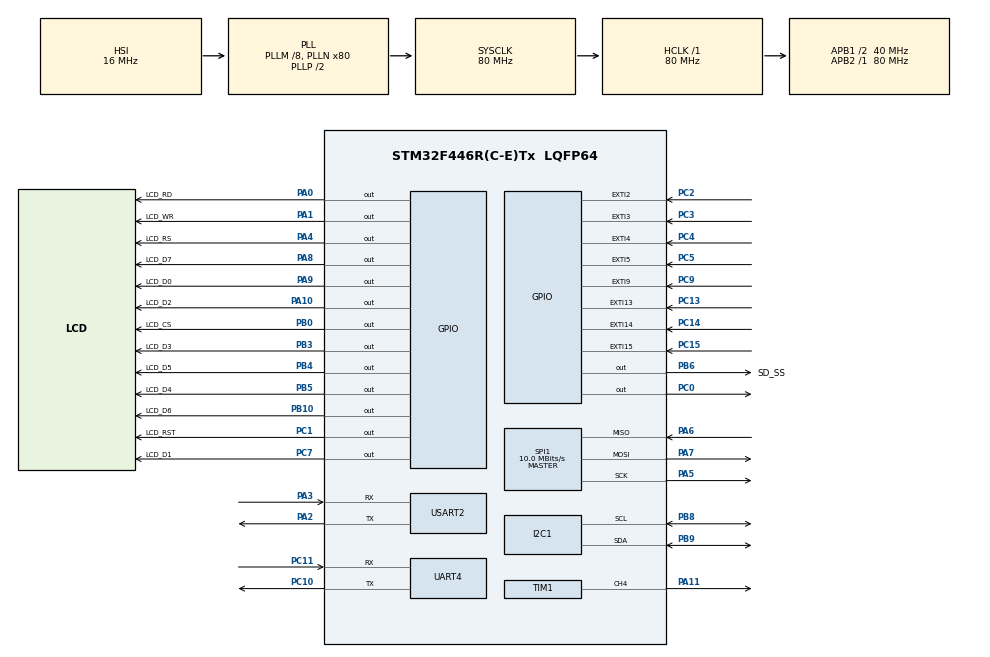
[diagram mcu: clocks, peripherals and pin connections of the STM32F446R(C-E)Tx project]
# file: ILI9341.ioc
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Dma.Request0=TIM1_CH4/TRIG/COM
Dma.TIM1_CH4/TRIG/COM.0.Direction=DMA_MEMORY_TO_PERIPH
Dma.TIM1_CH4/TRIG/COM.0.FIFOMode=DMA_FIFOMODE_DISABLE
Dma.TIM1_CH4/TRIG/COM.0.Instance=DMA2_Stream4
Dma.TIM1_CH4/TRIG/COM.0.MemDataAlignment=DMA_MDATAALIGN_HALFWORD
Dma.TIM1_CH4/TRIG/COM.0.MemInc=DMA_MINC_ENABLE
Dma.TIM1_CH4/TRIG/COM.0.Mode=DMA_NORMAL
Dma.TIM1_CH4/TRIG/COM.0.PeriphDataAlignment=DMA_PDATAALIGN_HALFWORD
Dma.TIM1_CH4/TRIG/COM.0.PeriphInc=DMA_PINC_DISABLE
Dma.TIM1_CH4/TRIG/COM.0.Priority=DMA_PRIORITY_VERY_HIGH
FATFS._MAX_SS=4096
FATFS._USE_LFN=1
I2C1.OwnAddress=0x13
Mcu.Family=STM32F4
Mcu.Name=STM32F446R(C-E)Tx
Mcu.Package=LQFP64
NVIC.DMA2_Stream4_IRQn=true\:0\:0\:false\:false\:true\:false\:true\:true
NVIC.EXTI15_10_IRQn=true\:0\:0\:false\:false\:true\:true\:true\:true
NVIC.EXTI2_IRQn=true\:0\:0\:false\:false\:true\:true\:true\:true
NVIC.EXTI3_IRQn=true\:0\:0\:false\:false\:true\:true\:true\:true
NVIC.EXTI4_IRQn=true\:0\:0\:false\:false\:true\:true\:true\:true
NVIC.EXTI9_5_IRQn=true\:0\:0\:false\:false\:true\:true\:true\:true
NVIC.I2C1_ER_IRQn=true\:0\:0\:false\:false\:true\:true\:true\:true
NVIC.I2C1_EV_IRQn=true\:0\:0\:false\:false\:true\:true\:true\:true
NVIC.PriorityGroup=NVIC_PRIORITYGROUP_4
NVIC.TIM6_DAC_IRQn=true\:0\:0\:false\:false\:true\:true\:true\:true
NVIC.UART4_IRQn=true\:0\:0\:false\:false\:true\:true\:true\:true
NVIC.USART2_IRQn=true\:0\:0\:false\:false\:true\:true\:true\:true
PA0-WKUP.GPIO_Label=LCD_RD
PA0-WKUP.GPIO_Speed=GPIO_SPEED_FREQ_HIGH
PA0-WKUP.Signal=GPIO_Output
PA1.GPIO_Label=LCD_WR
PA1.GPIO_Speed=GPIO_SPEED_FREQ_HIGH
PA1.Signal=GPIO_Output
PA10.GPIO_Label=LCD_D2
PA10.GPIO_Speed=GPIO_SPEED_FREQ_HIGH
PA10.Signal=GPIO_Output
PA11.GPIO_Speed=GPIO_SPEED_FREQ_HIGH
PA11.Signal=S_TIM1_CH4
PA13.Mode=Serial_Wire
PA13.Signal=SYS_JTMS-SWDIO
PA14.Mode=Serial_Wire
PA14.Signal=SYS_JTCK-SWCLK
PA2.Mode=Asynchronous
PA2.Signal=USART2_TX
PA3.Mode=Asynchronous
PA3.Signal=USART2_RX
PA4.GPIO_Label=LCD_RS
PA4.GPIO_Speed=GPIO_SPEED_FREQ_HIGH
PA4.Signal=GPIO_Output
PA5.Mode=Full_Duplex_Master
PA5.Signal=SPI1_SCK
PA6.Mode=Full_Duplex_Master
PA6.Signal=SPI1_MISO
PA7.Mode=Full_Duplex_Master
PA7.Signal=SPI1_MOSI
PA8.GPIO_Label=LCD_D7
PA8.GPIO_Speed=GPIO_SPEED_FREQ_HIGH
PA8.Signal=GPIO_Output
PA9.GPIO_Label=LCD_D0
PA9.GPIO_Speed=GPIO_SPEED_FREQ_HIGH
PA9.Signal=GPIO_Output
PB0.GPIO_Label=LCD_CS
PB0.GPIO_Speed=GPIO_SPEED_FREQ_HIGH
PB0.Signal=GPIO_Output
PB10.GPIO_Label=LCD_D6
PB10.GPIO_Speed=GPIO_SPEED_FREQ_HIGH
PB10.Signal=GPIO_Output
PB3.GPIO_Label=LCD_D3
PB3.GPIO_Speed=GPIO_SPEED_FREQ_HIGH
PB3.Signal=GPIO_Output
PB4.GPIO_Label=LCD_D5
PB4.GPIO_Speed=GPIO_SPEED_FREQ_HIGH
PB4.Signal=GPIO_Output
PB5.GPIO_Label=LCD_D4
PB5.GPIO_Speed=GPIO_SPEED_FREQ_HIGH
PB5.Signal=GPIO_Output
PB6.GPIO_Label=SD_SS
PB6.GPIO_Speed=GPIO_SPEED_FREQ_MEDIUM
PB6.PinState=GPIO_PIN_SET
PB6.Signal=GPIO_Output
PB8.Mode=I2C
PB8.Signal=I2C1_SCL
PB9.Mode=I2C
PB9.Signal=I2C1_SDA
PC0.PinState=GPIO_PIN_SET
PC0.Signal=GPIO_Output
PC1.GPIO_Label=LCD_RST
PC1.GPIO_Speed=GPIO_SPEED_FREQ_HIGH
PC1.Signal=GPIO_Output
PC10.Mode=Asynchronous
PC10.Signal=UART4_TX
PC11.Mode=Asynchronous
PC11.Signal=UART4_RX
PC13.GPIO_ModeDefaultEXTI=GPIO_MODE_IT_RISING_FALLING
PC13.GPIO_PuPd=GPIO_NOPULL
PC13.Signal=GPXTI13
PC14-OSC32_IN.GPIO_ModeDefaultEXTI=GPIO_MODE_IT_RISING_FALLING
PC14-OSC32_IN.GPIO_PuPd=GPIO_NOPULL
PC14-OSC32_IN.Signal=GPXTI14
PC15-OSC32_OUT.GPIO_ModeDefaultEXTI=GPIO_MODE_IT_RISING_FALLING
PC15-OSC32_OUT.GPIO_PuPd=GPIO_NOPULL
PC15-OSC32_OUT.Signal=GPXTI15
PC2.GPIO_ModeDefaultEXTI=GPIO_MODE_IT_RISING_FALLING
PC2.GPIO_PuPd=GPIO_NOPULL
PC2.Signal=GPXTI2
PC3.GPIO_ModeDefaultEXTI=GPIO_MODE_IT_RISING_FALLING
PC3.GPIO_PuPd=GPIO_NOPULL
PC3.Signal=GPXTI3
PC4.GPIO_ModeDefaultEXTI=GPIO_MODE_IT_RISING_FALLING
PC4.GPIO_PuPd=GPIO_NOPULL
PC4.Signal=GPXTI4
PC5.GPIO_ModeDefaultEXTI=GPIO_MODE_IT_RISING_FALLING
PC5.GPIO_PuPd=GPIO_NOPULL
PC5.Signal=GPXTI5
PC7.GPIO_Label=LCD_D1
PC7.GPIO_Speed=GPIO_SPEED_FREQ_HIGH
PC7.Signal=GPIO_Output
PC9.GPIO_ModeDefaultEXTI=GPIO_MODE_IT_RISING_FALLING
PC9.GPIO_PuPd=GPIO_NOPULL
PC9.Signal=GPXTI9
PH0-OSC_IN.Mode=HSE-External-Oscillator
PH0-OSC_IN.Signal=RCC_OSC_IN
PH1-OSC_OUT.Mode=HSE-External-Oscillator
PH1-OSC_OUT.Signal=RCC_OSC_OUT
ProjectManager.HeapSize=0x200
ProjectManager.StackSize=0x400
ProjectManager.TargetToolchain=STM32CubeIDE
RCC.AHBFreq_Value=80000000
RCC.APB1CLKDivider=RCC_HCLK_DIV2
RCC.APB1Freq_Value=40000000
RCC.APB1TimFreq_Value=80000000
RCC.APB2Freq_Value=80000000
RCC.APB2TimFreq_Value=80000000
RCC.CortexFreq_Value=80000000
RCC.HCLKFreq_Value=80000000
RCC.PLLM=8
RCC.PLLN=80
RCC.SYSCLKFreq_VALUE=80000000
RCC.SYSCLKSource=RCC_SYSCLKSOURCE_PLLCLK
RCC.USBFreq_Value=80000000
RCC.VCOOutputFreq_Value=160000000
SH.S_TIM1_CH4.0=TIM1_CH4,PWM Generation4 CH4
SPI1.BaudRatePrescaler=SPI_BAUDRATEPRESCALER_8
SPI1.CalculateBaudRate=10.0 MBits/s
SPI1.Direction=SPI_DIRECTION_2LINES
SPI1.Mode=SPI_MODE_MASTER
SPI1.VirtualType=VM_MASTER
TIM1.Channel-PWM\ Generation4\ CH4=TIM_CHANNEL_4
TIM1.Period=100-1
TIM6.Period=2500-1
TIM6.Prescaler=8400-1
UART4.VirtualMode=Asynchronous
USART2.VirtualMode=VM_ASYNC
VP_FATFS_VS_Generic.Mode=User_defined
VP_TIM1_VS_ClockSourceINT.Mode=Internal
VP_TIM6_VS_ClockSourceINT.Mode=Enable_Timer
board=custom

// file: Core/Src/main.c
/* USER CODE BEGIN Header */
/**
  ******************************************************************************
  * @file           : main.c
  * @brief          : Main program body
  ******************************************************************************
  */
/* USER CODE END Header */
#include "main.h"
#include "fatfs.h"

/* USER CODE BEGIN Includes */
#include "string.h"
#include "stdio.h"
#include <stdlib.h>
#include "ili9341.h"
#include "Bitmaps.h"
#include "NEOPIXEL.h"
/* USER CODE END Includes */

/* USER CODE BEGIN PD */
//COLORES CONVERTIDOS A RGB565
#define COLOR_FONDO_PARQUEO 0x428C
#define COLOR_FONDO_NUMEROS 0x3BF2

//MACROS FALTANTES PARA CONTROL DE PANTALLA
#define LCD_CS_L() HAL_GPIO_WritePin(GPIOB, LCD_CS_Pin, GPIO_PIN_RESET)
#define LCD_CS_H() HAL_GPIO_WritePin(GPIOB, LCD_CS_Pin, GPIO_PIN_SET)
#define LCD_RS_H() HAL_GPIO_WritePin(GPIOA, LCD_RS_Pin, GPIO_PIN_SET)
/* USER CODE END PD */

I2C_HandleTypeDef hi2c1;

SPI_HandleTypeDef hspi1;

TIM_HandleTypeDef htim1;
TIM_HandleTypeDef htim6;
DMA_HandleTypeDef hdma_tim1_ch4_trig_com;

UART_HandleTypeDef huart4;
UART_HandleTypeDef huart2;

/* USER CODE BEGIN PV */
#define TxBufferSize	8
#define RxBufferSize	4

int count = 0;

uint8_t aTxBuffer[TxBufferSize] = {0};
uint8_t aRxBuffer[RxBufferSize];

uint8_t rxData;
uint8_t flag_update = 0;
uint8_t space_to_update = 255;

uint8_t parking_state[8] = {0};
uint8_t car_assigned[8]  = {0};
uint8_t car_flip[8]      = {0};

const uint16_t* car_bitmaps[4] = {C1, C2, C3, C4};

//COORDENADAS DE LOS CARROS
const uint16_t space_x[8] = {16,  16,  16,  16,  186, 186, 186, 186};
const uint16_t space_y[8] = {58, 100, 140, 180,   60, 100, 140, 180};

//COORDENADAS DE LOS INDICADORES
const uint16_t line_x[8]  = {80,  80,  80,  80,  130, 130, 130, 130};

const uint16_t line_y[8]  = {60, 100, 140, 180,   60, 100, 140, 180};

volatile uint8_t exti_idx = 255;
volatile uint32_t last_exti_time = 0;

/* USER CODE END PV */

void SystemClock_Config(void);
static void MX_GPIO_Init(void);
static void MX_DMA_Init(void);
static void MX_SPI1_Init(void);
static void MX_USART2_UART_Init(void);
static void MX_TIM6_Init(void);
static void MX_UART4_Init(void);
static void MX_TIM1_Init(void);
static void MX_I2C1_Init(void);
/* USER CODE BEGIN PFP */
void Draw_Parking_Area(uint16_t px, uint16_t py, uint16_t w, uint16_t h);
void Update_Space(uint8_t idx);
void Update_Counter(void);
/* USER CODE END PFP */

/* USER CODE BEGIN 0 */
//RESTAURA SOLO EL FONDO QUE OCUPABA EL CARRO
void Draw_Parking_Area(uint16_t px, uint16_t py, uint16_t w, uint16_t h) {
    LCD_CS_L();
    SetWindows(px, py, px + w - 1, py + h - 1);
    LCD_RS_H();
    for (int j = py; j < py + h; j++) {
        for (int i = px; i < px + w; i++) {
            uint16_t pixel = PARQUEO[j * 240 + i];
            LCD_DATA(pixel >> 8);
            LCD_DATA(pixel & 0xFF);
        }
    }
    LCD_CS_H();
}

//ACTUALIZA LA PANTALLA Y EL LED DEL PARQUEO
void Update_Space(uint8_t idx) {
    if (parking_state[idx] == 0) {
        // ESPACIO LIBRE
        Draw_Parking_Area(space_x[idx], space_y[idx], 42, 22);
        Draw_Parking_Area(line_x[idx], line_y[idx], 28, 28);
        LCD_Sprite(line_x[idx], line_y[idx], 28, 28, L_V, 1, 0, 0, 0);
        setPixelColor(idx, 0, 255, 0);
        aTxBuffer[idx] = 0;
    } else {
        // ESPACIO OCUPADO
        Draw_Parking_Area(line_x[idx], line_y[idx], 28, 28);
        LCD_Sprite(space_x[idx], space_y[idx], 42, 22, car_bitmaps[car_assigned[idx]], 1, 0, car_flip[idx], 0);
        LCD_Sprite(line_x[idx], line_y[idx], 28, 28, L_R, 1, 0, 0, 0);
        setPixelColor(idx, 255, 0, 0);
        aTxBuffer[idx] = 1;
    }
}

//ACTUALIZA EL MARCADOR
void Update_Counter(void) {
    uint8_t ocupados = 0;
    for (int i = 0; i < 8; i++) {
        ocupados += parking_state[i];
    }
    uint8_t disponibles = 8 - ocupados;

    uint8_t escala = 2;
    uint16_t x0 = 115;
    uint16_t y0 = 270;

    FillRect(x0, y0, 8 * escala, 8 * escala, COLOR_FONDO_NUMEROS);

    char c[2] = {'0' + disponibles, 0};
    LCD_Print(c, x0, y0, escala, 0xFFFF, COLOR_FONDO_NUMEROS);
}
/* USER CODE END 0 */

int main(void)
{

  /* MCU Configuration--------------------------------------------------------*/

  /* Reset of all peripherals, Initializes the Flash interface and the Systick. */
  HAL_Init();

  /* Configure the system clock */
  SystemClock_Config();

  /* Initialize all configured peripherals */
  MX_GPIO_Init();
  MX_DMA_Init();
  MX_SPI1_Init();
  MX_FATFS_Init();
  MX_USART2_UART_Init();
  MX_TIM6_Init();
  MX_UART4_Init();
  MX_TIM1_Init();
  MX_I2C1_Init();
  /* USER CODE BEGIN 2 */
//INICIALIZAR PANTALLA
  LCD_Init();
  LCD_Clear(0x0000);
  LCD_Bitmap(0, 0, 240, 320, PARQUEO);

//INICIALIZAR NEOPIXELS
  pixelClear();
  setBrightness(50);

//PONER TODOS LIBRES AL INICIO
  for (int i = 0; i < 8; i++) {
      parking_state[i] = 0;
      Update_Space(i);
  }
  pixelShow();
  Update_Counter();

//INICIAR LA RECEPCION POR UART
  HAL_UART_Receive_IT(&huart2, &rxData, 1);

  // COMUNICACION I2C
  aTxBuffer[0] = 1;
  aTxBuffer[4] = 1;
  aTxBuffer[5] = 1;
  aTxBuffer[6] = 1;
  if (HAL_I2C_EnableListen_IT(&hi2c1) != HAL_OK) {
  	  Error_Handler();
    }
  /* USER CODE END 2 */

  /* Infinite loop */
  /* USER CODE BEGIN WHILE */
  while (1)
  {
//REVISAR SI LLEGO UN DATO
	  if (flag_update) {
	          flag_update = 0;
	          uint8_t target = space_to_update;
	          space_to_update = 255;

	      //AHORA ESTA EN LA INTERRUPCION
          //parking_state[target] = !parking_state[target];

//AHORA ESTA EN LA INTERRUPCION
//          if (parking_state[target]) {
//              car_assigned[target] = rand() % 4;
//              car_flip[target]     = rand() % 2;
//          }

          Update_Space(target);
          pixelShow();
          Update_Counter();
      }
      HAL_Delay(10);
    /* USER CODE END WHILE */

  }
}

void SystemClock_Config(void)
{
  RCC_OscInitTypeDef RCC_OscInitStruct = {0};
  RCC_ClkInitTypeDef RCC_ClkInitStruct = {0};

  /** Configure the main internal regulator output voltage
  */
  __HAL_RCC_PWR_CLK_ENABLE();
  __HAL_PWR_VOLTAGESCALING_CONFIG(PWR_REGULATOR_VOLTAGE_SCALE3);

  /** Initializes the RCC Oscillators according to the specified parameters
  * in the RCC_OscInitTypeDef structure.
  */
  RCC_OscInitStruct.OscillatorType = RCC_OSCILLATORTYPE_HSI;
  RCC_OscInitStruct.HSIState = RCC_HSI_ON;
  RCC_OscInitStruct.HSICalibrationValue = RCC_HSICALIBRATION_DEFAULT;
  RCC_OscInitStruct.PLL.PLLState = RCC_PLL_ON;
  RCC_OscInitStruct.PLL.PLLSource = RCC_PLLSOURCE_HSI;
  RCC_OscInitStruct.PLL.PLLM = 8;
  RCC_OscInitStruct.PLL.PLLN = 80;
  RCC_OscInitStruct.PLL.PLLP = RCC_PLLP_DIV2;
  RCC_OscInitStruct.PLL.PLLQ = 2;
  RCC_OscInitStruct.PLL.PLLR = 2;
  if (HAL_RCC_OscConfig(&RCC_OscInitStruct) != HAL_OK)
  {
    Error_Handler();
  }

  /** Initializes the CPU, AHB and APB buses clocks
  */
  RCC_ClkInitStruct.ClockType = RCC_CLOCKTYPE_HCLK|RCC_CLOCKTYPE_SYSCLK
                              |RCC_CLOCKTYPE_PCLK1|RCC_CLOCKTYPE_PCLK2;
  RCC_ClkInitStruct.SYSCLKSource = RCC_SYSCLKSOURCE_PLLCLK;
  RCC_ClkInitStruct.AHBCLKDivider = RCC_SYSCLK_DIV1;
  RCC_ClkInitStruct.APB1CLKDivider = RCC_HCLK_DIV2;
  RCC_ClkInitStruct.APB2CLKDivider = RCC_HCLK_DIV1;

  if (HAL_RCC_ClockConfig(&RCC_ClkInitStruct, FLASH_LATENCY_2) != HAL_OK)
  {
    Error_Handler();
  }
}

static void MX_I2C1_Init(void)
{

  hi2c1.Instance = I2C1;
  hi2c1.Init.ClockSpeed = 100000;
  hi2c1.Init.DutyCycle = I2C_DUTYCYCLE_2;
  hi2c1.Init.OwnAddress1 = 38;
  hi2c1.Init.AddressingMode = I2C_ADDRESSINGMODE_7BIT;
  hi2c1.Init.DualAddressMode = I2C_DUALADDRESS_DISABLE;
  hi2c1.Init.OwnAddress2 = 0;
  hi2c1.Init.GeneralCallMode = I2C_GENERALCALL_DISABLE;
  hi2c1.Init.NoStretchMode = I2C_NOSTRETCH_DISABLE;
  if (HAL_I2C_Init(&hi2c1) != HAL_OK)
  {
    Error_Handler();
  }

}

static void MX_SPI1_Init(void)
{

  /* SPI1 parameter configuration*/
  hspi1.Instance = SPI1;
  hspi1.Init.Mode = SPI_MODE_MASTER;
  hspi1.Init.Direction = SPI_DIRECTION_2LINES;
  hspi1.Init.DataSize = SPI_DATASIZE_8BIT;
  hspi1.Init.CLKPolarity = SPI_POLARITY_LOW;
  hspi1.Init.CLKPhase = SPI_PHASE_1EDGE;
  hspi1.Init.NSS = SPI_NSS_SOFT;
  hspi1.Init.BaudRatePrescaler = SPI_BAUDRATEPRESCALER_8;
  hspi1.Init.FirstBit = SPI_FIRSTBIT_MSB;
  hspi1.Init.TIMode = SPI_TIMODE_DISABLE;
  hspi1.Init.CRCCalculation = SPI_CRCCALCULATION_DISABLE;
  hspi1.Init.CRCPolynomial = 10;
  if (HAL_SPI_Init(&hspi1) != HAL_OK)
  {
    Error_Handler();
  }

}

static void MX_TIM1_Init(void)
{

  TIM_ClockConfigTypeDef sClockSourceConfig = {0};
  TIM_MasterConfigTypeDef sMasterConfig = {0};
  TIM_OC_InitTypeDef sConfigOC = {0};
  TIM_BreakDeadTimeConfigTypeDef sBreakDeadTimeConfig = {0};

  htim1.Instance = TIM1;
  htim1.Init.Prescaler = 0;
  htim1.Init.CounterMode = TIM_COUNTERMODE_UP;
  htim1.Init.Period = 100-1;
  htim1.Init.ClockDivision = TIM_CLOCKDIVISION_DIV1;
  htim1.Init.RepetitionCounter = 0;
  htim1.Init.AutoReloadPreload = TIM_AUTORELOAD_PRELOAD_DISABLE;
  if (HAL_TIM_Base_Init(&htim1) != HAL_OK)
  {
    Error_Handler();
  }
  sClockSourceConfig.ClockSource = TIM_CLOCKSOURCE_INTERNAL;
  if (HAL_TIM_ConfigClockSource(&htim1, &sClockSourceConfig) != HAL_OK)
  {
    Error_Handler();
  }
  if (HAL_TIM_PWM_Init(&htim1) != HAL_OK)
  {
    Error_Handler();
  }
  sMasterConfig.MasterOutputTrigger = TIM_TRGO_RESET;
  sMasterConfig.MasterSlaveMode = TIM_MASTERSLAVEMODE_DISABLE;
  if (HAL_TIMEx_MasterConfigSynchronization(&htim1, &sMasterConfig) != HAL_OK)
  {
    Error_Handler();
  }
  sConfigOC.OCMode = TIM_OCMODE_PWM1;
  sConfigOC.Pulse = 0;
  sConfigOC.OCPolarity = TIM_OCPOLARITY_HIGH;
  sConfigOC.OCFastMode = TIM_OCFAST_DISABLE;
  sConfigOC.OCIdleState = TIM_OCIDLESTATE_RESET;
  sConfigOC.OCNIdleState = TIM_OCNIDLESTATE_RESET;
  if (HAL_TIM_PWM_ConfigChannel(&htim1, &sConfigOC, TIM_CHANNEL_4) != HAL_OK)
  {
    Error_Handler();
  }
  sBreakDeadTimeConfig.OffStateRunMode = TIM_OSSR_DISABLE;
  sBreakDeadTimeConfig.OffStateIDLEMode = TIM_OSSI_DISABLE;
  sBreakDeadTimeConfig.LockLevel = TIM_LOCKLEVEL_OFF;
  sBreakDeadTimeConfig.DeadTime = 0;
  sBreakDeadTimeConfig.BreakState = TIM_BREAK_DISABLE;
  sBreakDeadTimeConfig.BreakPolarity = TIM_BREAKPOLARITY_HIGH;
  sBreakDeadTimeConfig.AutomaticOutput = TIM_AUTOMATICOUTPUT_DISABLE;
  if (HAL_TIMEx_ConfigBreakDeadTime(&htim1, &sBreakDeadTimeConfig) != HAL_OK)
  {
    Error_Handler();
  }
  HAL_TIM_MspPostInit(&htim1);

}

static void MX_TIM6_Init(void)
{

  TIM_MasterConfigTypeDef sMasterConfig = {0};

  htim6.Instance = TIM6;
  htim6.Init.Prescaler = 8400-1;
  htim6.Init.CounterMode = TIM_COUNTERMODE_UP;
  htim6.Init.Period = 2500-1;
  htim6.Init.AutoReloadPreload = TIM_AUTORELOAD_PRELOAD_DISABLE;
  if (HAL_TIM_Base_Init(&htim6) != HAL_OK)
  {
    Error_Handler();
  }
  sMasterConfig.MasterOutputTrigger = TIM_TRGO_RESET;
  sMasterConfig.MasterSlaveMode = TIM_MASTERSLAVEMODE_DISABLE;
  if (HAL_TIMEx_MasterConfigSynchronization(&htim6, &sMasterConfig) != HAL_OK)
  {
    Error_Handler();
  }

}

static void MX_UART4_Init(void)
{

  huart4.Instance = UART4;
  huart4.Init.BaudRate = 115200;
  huart4.Init.WordLength = UART_WORDLENGTH_8B;
  huart4.Init.StopBits = UART_STOPBITS_1;
  huart4.Init.Parity = UART_PARITY_NONE;
  huart4.Init.Mode = UART_MODE_TX_RX;
  huart4.Init.HwFlowCtl = UART_HWCONTROL_NONE;
  huart4.Init.OverSampling = UART_OVERSAMPLING_16;
  if (HAL_UART_Init(&huart4) != HAL_OK)
  {
    Error_Handler();
  }

}

static void MX_USART2_UART_Init(void)
{

  huart2.Instance = USART2;
  huart2.Init.BaudRate = 115200;
  huart2.Init.WordLength = UART_WORDLENGTH_8B;
  huart2.Init.StopBits = UART_STOPBITS_1;
  huart2.Init.Parity = UART_PARITY_NONE;
  huart2.Init.Mode = UART_MODE_TX_RX;
  huart2.Init.HwFlowCtl = UART_HWCONTROL_NONE;
  huart2.Init.OverSampling = UART_OVERSAMPLING_16;
  if (HAL_UART_Init(&huart2) != HAL_OK)
  {
    Error_Handler();
  }

}

static void MX_DMA_Init(void)
{

  /* DMA controller clock enable */
  __HAL_RCC_DMA2_CLK_ENABLE();

  /* DMA interrupt init */
  /* DMA2_Stream4_IRQn interrupt configuration */
  HAL_NVIC_SetPriority(DMA2_Stream4_IRQn, 0, 0);
  HAL_NVIC_EnableIRQ(DMA2_Stream4_IRQn);

}

static void MX_GPIO_Init(void)
{
  GPIO_InitTypeDef GPIO_InitStruct = {0};

  /* GPIO Ports Clock Enable */
  __HAL_RCC_GPIOC_CLK_ENABLE();
  __HAL_RCC_GPIOH_CLK_ENABLE();
  __HAL_RCC_GPIOA_CLK_ENABLE();
  __HAL_RCC_GPIOB_CLK_ENABLE();

  /*Configure GPIO pin Output Level */
  HAL_GPIO_WritePin(GPIOC, GPIO_PIN_0, GPIO_PIN_SET);

  /*Configure GPIO pin Output Level */
  HAL_GPIO_WritePin(GPIOC, LCD_RST_Pin|LCD_D1_Pin, GPIO_PIN_RESET);

  /*Configure GPIO pin Output Level */
  HAL_GPIO_WritePin(GPIOA, LCD_RD_Pin|LCD_WR_Pin|LCD_RS_Pin|LCD_D7_Pin
                          |LCD_D0_Pin|LCD_D2_Pin, GPIO_PIN_RESET);

  /*Configure GPIO pin Output Level */
  HAL_GPIO_WritePin(GPIOB, LCD_CS_Pin|LCD_D6_Pin|LCD_D3_Pin|LCD_D5_Pin
                          |LCD_D4_Pin, GPIO_PIN_RESET);

  /*Configure GPIO pin Output Level */
  HAL_GPIO_WritePin(SD_SS_GPIO_Port, SD_SS_Pin, GPIO_PIN_SET);

  /*Configure GPIO pins : PC13 PC14 PC15 PC2
                           PC3 PC4 PC5 PC9 */
  GPIO_InitStruct.Pin = GPIO_PIN_13|GPIO_PIN_14|GPIO_PIN_15|GPIO_PIN_2
                          |GPIO_PIN_3|GPIO_PIN_4|GPIO_PIN_5|GPIO_PIN_9;
  GPIO_InitStruct.Mode = GPIO_MODE_IT_RISING_FALLING;
  GPIO_InitStruct.Pull = GPIO_NOPULL;
  HAL_GPIO_Init(GPIOC, &GPIO_InitStruct);

  /*Configure GPIO pin : PC0 */
  GPIO_InitStruct.Pin = GPIO_PIN_0;
  GPIO_InitStruct.Mode = GPIO_MODE_OUTPUT_PP;
  GPIO_InitStruct.Pull = GPIO_NOPULL;
  GPIO_InitStruct.Speed = GPIO_SPEED_FREQ_LOW;
  HAL_GPIO_Init(GPIOC, &GPIO_InitStruct);

  /*Configure GPIO pins : LCD_RST_Pin LCD_D1_Pin */
  GPIO_InitStruct.Pin = LCD_RST_Pin|LCD_D1_Pin;
  GPIO_InitStruct.Mode = GPIO_MODE_OUTPUT_PP;
  GPIO_InitStruct.Pull = GPIO_NOPULL;
  GPIO_InitStruct.Speed = GPIO_SPEED_FREQ_HIGH;
  HAL_GPIO_Init(GPIOC, &GPIO_InitStruct);

  /*Configure GPIO pins : LCD_RD_Pin LCD_WR_Pin LCD_RS_Pin LCD_D7_Pin
                           LCD_D0_Pin LCD_D2_Pin */
  GPIO_InitStruct.Pin = LCD_RD_Pin|LCD_WR_Pin|LCD_RS_Pin|LCD_D7_Pin
                          |LCD_D0_Pin|LCD_D2_Pin;
  GPIO_InitStruct.Mode = GPIO_MODE_OUTPUT_PP;
  GPIO_InitStruct.Pull = GPIO_NOPULL;
  GPIO_InitStruct.Speed = GPIO_SPEED_FREQ_HIGH;
  HAL_GPIO_Init(GPIOA, &GPIO_InitStruct);

  /*Configure GPIO pins : LCD_CS_Pin LCD_D6_Pin LCD_D3_Pin LCD_D5_Pin
                           LCD_D4_Pin */
  GPIO_InitStruct.Pin = LCD_CS_Pin|LCD_D6_Pin|LCD_D3_Pin|LCD_D5_Pin
                          |LCD_D4_Pin;
  GPIO_InitStruct.Mode = GPIO_MODE_OUTPUT_PP;
  GPIO_InitStruct.Pull = GPIO_NOPULL;
  GPIO_InitStruct.Speed = GPIO_SPEED_FREQ_HIGH;
  HAL_GPIO_Init(GPIOB, &GPIO_InitStruct);

  /*Configure GPIO pin : SD_SS_Pin */
  GPIO_InitStruct.Pin = SD_SS_Pin;
  GPIO_InitStruct.Mode = GPIO_MODE_OUTPUT_PP;
  GPIO_InitStruct.Pull = GPIO_NOPULL;
  GPIO_InitStruct.Speed = GPIO_SPEED_FREQ_MEDIUM;
  HAL_GPIO_Init(SD_SS_GPIO_Port, &GPIO_InitStruct);

  /* EXTI interrupt init*/
  HAL_NVIC_SetPriority(EXTI2_IRQn, 0, 0);
  HAL_NVIC_EnableIRQ(EXTI2_IRQn);

  HAL_NVIC_SetPriority(EXTI3_IRQn, 0, 0);
  HAL_NVIC_EnableIRQ(EXTI3_IRQn);

  HAL_NVIC_SetPriority(EXTI4_IRQn, 0, 0);
  HAL_NVIC_EnableIRQ(EXTI4_IRQn);

  HAL_NVIC_SetPriority(EXTI9_5_IRQn, 0, 0);
  HAL_NVIC_EnableIRQ(EXTI9_5_IRQn);

  HAL_NVIC_SetPriority(EXTI15_10_IRQn, 0, 0);
  HAL_NVIC_EnableIRQ(EXTI15_10_IRQn);

}

/* USER CODE BEGIN 4 */
//CALLBACK DE RECEPCION UART
void HAL_UART_RxCpltCallback(UART_HandleTypeDef *huart) {
    if (huart->Instance == USART2) {
        switch (rxData) {
            case '1':
            	space_to_update = 0;
            	flag_update = 1;
            break;
            case '2':
            	space_to_update = 1;
            	flag_update = 1;
            break;
            case '3':
            	space_to_update = 2;
            	flag_update = 1;
            break;
            case '4':
            	space_to_update = 3;
            	flag_update = 1;
            break;
            case '5':
            	space_to_update = 4;
            	flag_update = 1;
            break;
            case '6':
            	space_to_update = 5;
            	flag_update = 1;
            break;
            case '7':
            	space_to_update = 6;
            	flag_update = 1;
            break;
            case '8':
            	space_to_update = 7;
            	flag_update = 1;
            break;
            default:
            break;
        }
        HAL_UART_Receive_IT(&huart2, &rxData, 1);
    }
}

void HAL_TIM_PWM_PulseFinishedCallback(TIM_HandleTypeDef *htim) {
    if (htim->Instance == TIM1 && htim->Channel == HAL_TIM_ACTIVE_CHANNEL_4) {
        HAL_TIM_PWM_Stop_DMA(&htim1, TIM_CHANNEL_4);
    }
}
void HAL_GPIO_EXTI_Callback(uint16_t GPIO_Pin) {
    uint32_t now = HAL_GetTick();
    if (now - last_exti_time < 200) return;
    last_exti_time = now;

    uint8_t idx = 255;

    switch (GPIO_Pin) {
        case GPIO_PIN_3:  idx = 0; break;
        case GPIO_PIN_2:  idx = 1; break;
        case GPIO_PIN_13: idx = 2; break;
        case GPIO_PIN_14: idx = 3; break;
        case GPIO_PIN_15: idx = 4; break;
        case GPIO_PIN_4:  idx = 5; break;
        case GPIO_PIN_5:  idx = 6; break;
        case GPIO_PIN_9:  idx = 7; break;
        default: return;
    }

    uint8_t lectura = HAL_GPIO_ReadPin(GPIOC, GPIO_Pin);

    if (lectura == GPIO_PIN_RESET) {
        parking_state[idx] = 1;
        car_assigned[idx] = rand() % 4;
        car_flip[idx] = rand() % 2;
    } else {
        parking_state[idx] = 0;
    }

    space_to_update = idx;
    flag_update = 1;
}

//Cuando termine alguna lectura, volver a colocar listo la escucha a algun llamado
void HAL_I2C_ListenCpltCallback(I2C_HandleTypeDef *hi2c){
	HAL_I2C_EnableListen_IT(hi2c);
}

void HAL_I2C_AddrCallback(I2C_HandleTypeDef *hi2c, uint8_t TransferDirection, uint16_t AddrMatchCode){
	// para trasmitir datos del maestro al esclavo
	if (TransferDirection == I2C_DIRECTION_TRANSMIT) {
		if (HAL_I2C_Slave_Seq_Receive_IT(&hi2c1, (uint8_t*) aRxBuffer, 1, I2C_FIRST_AND_LAST_FRAME) != HAL_OK) {
			/* Transfer error in reception process */
			Error_Handler();
		}
	}
	else if (TransferDirection == I2C_DIRECTION_RECEIVE) {
		//para trasmitir datos del esclavo al maestro
		if (HAL_I2C_Slave_Seq_Transmit_IT(&hi2c1, (uint8_t*) aTxBuffer, 8, I2C_FIRST_AND_LAST_FRAME) != HAL_OK) {
			Error_Handler();
		}

	}
}

void HAL_I2C_SlaveTxCpltCallback(I2C_HandleTypeDef *I2cHandle){
	//se podria colocar logica para saber si se transmitireon lso datos
}

void HAL_I2C_ErrorCallback(I2C_HandleTypeDef *I2cHandle) {
    /* Error_Handler() function is called when error occurs.
     * 1- When Slave doesn't acknowledge its address, Master restarts communication.
     * 2- When Master doesn't acknowledge the last data transferred, Slave doesn't care in this example.
     */
    if (HAL_I2C_GetError(I2cHandle) != HAL_I2C_ERROR_AF) {
        Error_Handler();
    }
}
/* USER CODE END 4 */

void Error_Handler(void)
{
  __disable_irq();
  while (1)
  {
  }
}
